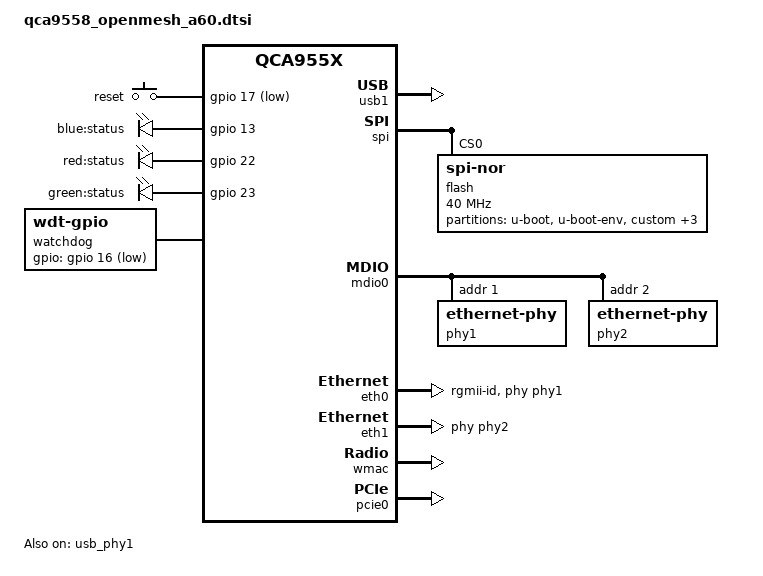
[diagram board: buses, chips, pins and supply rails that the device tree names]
// SPDX-License-Identifier: GPL-2.0-or-later OR MIT

#include "qca955x.dtsi"

#include <dt-bindings/gpio/gpio.h>
#include <dt-bindings/input/input.h>

/ {
	chosen {
		/delete-property/ bootargs;
	};

	aliases {
		serial0 = &uart;
		led-boot = &led_status_green;
		led-failsafe = &led_status_green;
		led-running = &led_status_green;
		led-upgrade = &led_status_green;
		label-mac-device = &eth0;
	};

	keys {
		compatible = "gpio-keys";

		reset {
			label = "reset";
			linux,code = <KEY_RESTART>;
			gpios = <&gpio 17 GPIO_ACTIVE_LOW>;
		};
	};

	leds {
		compatible = "gpio-leds";

		status_blue {
			label = "blue:status";
			gpios = <&gpio 13 GPIO_ACTIVE_HIGH>;
		};

		status_red {
			label = "red:status";
			gpios = <&gpio 22 GPIO_ACTIVE_HIGH>;
		};

		led_status_green: status_green {
			label = "green:status";
			gpios = <&gpio 23 GPIO_ACTIVE_HIGH>;
		};
	};

	watchdog {
		compatible = "linux,wdt-gpio";
		gpios = <&gpio 16 GPIO_ACTIVE_LOW>;
		hw_algo = "toggle";
		/* hw_margin_ms is actually 300s but driver limits it to 60s */
		hw_margin_ms = <60000>;
		always-running;
	};
};

&usb_phy1 {
	status = "okay";
};

&usb1 {
	status = "okay";
};

&spi {
	status = "okay";

	flash@0 {
		compatible = "jedec,spi-nor";
		reg = <0>;
		spi-max-frequency = <40000000>;

		/* partitions are passed via bootloader */
		partitions {
			compatible = "fixed-partitions";
			#address-cells = <1>;
			#size-cells = <1>;

			partition@0 {
				label = "u-boot";
				reg = <0x000000 0x040000>;
				read-only;
			};

			partition@40000 {
				label = "u-boot-env";
				reg = <0x040000 0x010000>;
			};

			partition@50000 {
				label = "custom";
				reg = <0x050000 0x060000>;
				read-only;
			};

			partition@b0000 {
				label = "inactive";
				reg = <0x0b0000 0x7a0000>;
			};

			partition@850000 {
				label = "inactive2";
				reg = <0x850000 0x7a0000>;
			};

			art: partition@ff0000 {
				label = "ART";
				reg = <0xff0000 0x010000>;
				read-only;
			};
		};
	};
};

&mdio0 {
	status = "okay";

	phy-mask = <0x6>;

	phy1: ethernet-phy@1 {
		reg = <1>;
		eee-broken-100tx;
		eee-broken-1000t;
	};

	phy2: ethernet-phy@2 {
		reg = <2>;
		eee-broken-100tx;
		eee-broken-1000t;
		at803x-override-sgmii-link-check;
	};
};

&eth0 {
	status = "okay";

	pll-data = <0x82000101 0x80000101 0x80001313>;

	nvmem-cells = <&macaddr_art_0>;
	nvmem-cell-names = "mac-address";

	phy-mode = "rgmii-id";
	phy-handle = <&phy1>;

	gmac-config {
		device = <&gmac>;
		rgmii-enabled = <1>;
		rxd-delay = <3>;
		rxdv-delay = <3>;
		txd-delay = <0>;
		txen-delay = <0>;
	};
};

&eth1 {
	status = "okay";

	pll-data = <0x03000101 0x80000101 0x80001313>;

	nvmem-cells = <&macaddr_art_6>;
	nvmem-cell-names = "mac-address";

	qca955x-sgmii-fixup;

	phy-handle = <&phy2>;
};

&wmac {
	status = "okay";

	mtd-cal-data = <&art 0x1000>;
	nvmem-cells = <&macaddr_art_0>;
	nvmem-cell-names = "mac-address";
	mac-address-increment = <2>;
};

&pcie0 {
	status = "okay";
};

&art {
	compatible = "nvmem-cells";
	#address-cells = <1>;
	#size-cells = <1>;

	macaddr_art_0: macaddr@0 {
		reg = <0x0 0x6>;
	};

	macaddr_art_6: macaddr@6 {
		reg = <0x6 0x6>;
	};
};
